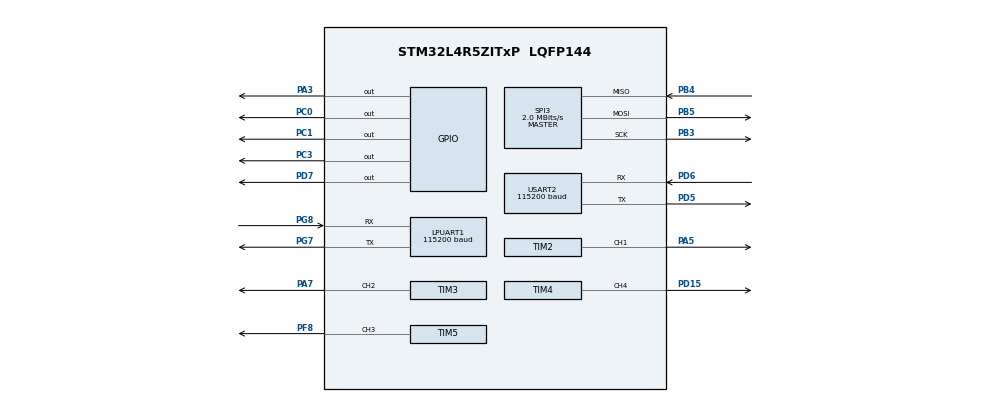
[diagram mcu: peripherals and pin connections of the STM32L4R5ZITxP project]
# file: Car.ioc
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LPUART1.BaudRate=115200
LPUART1.WordLength=UART_WORDLENGTH_8B
Mcu.Family=STM32L4
Mcu.Name=STM32L4R5ZITxP
Mcu.Package=LQFP144
NVIC.PriorityGroup=NVIC_PRIORITYGROUP_4
PA1.Signal=ADCx_IN6
PA10.Signal=USB_OTG_FS_ID
PA13\ (JTMS/SWDIO).Signal=SYS_JTMS-SWDIO
PA14\ (JTCK/SWCLK).Signal=SYS_JTCK-SWCLK
PA3.Signal=GPIO_Output
PA4.Signal=SPI1_NSS
PA5.Signal=S_TIM2_CH1
PA6.Signal=SPI1_MISO
PA7.Signal=S_TIM3_CH2
PA8.Signal=USB_OTG_FS_SOF
PA9.Signal=USB_OTG_FS_VBUS
PB0.Signal=S_TIM3_CH3
PB1.Signal=ADCx_IN16
PB10.Signal=S_TIM2_CH3
PB12.Signal=SAI2_FS_A
PB13.Signal=SAI2_SCK_A
PB14.Signal=S_TIM15_CH1
PB15.Signal=SAI2_SD_A
PB2.Signal=COMP1_INP
PB3\ (JTDO/TRACESWO).Mode=Full_Duplex_Master
PB3\ (JTDO/TRACESWO).Signal=SPI3_SCK
PB4\ (NJTRST).Mode=Full_Duplex_Master
PB4\ (NJTRST).Signal=SPI3_MISO
PB5.Mode=Full_Duplex_Master
PB5.Signal=SPI3_MOSI
PB6.Signal=COMP2_INP
PB8.Signal=I2C1_SCL
PB9.Signal=I2C1_SDA
PC0.Signal=GPIO_Output
PC1.Signal=GPIO_Output
PC10.Signal=SDMMC1_D2
PC11.Signal=SDMMC1_D3
PC12.Signal=SDMMC1_CK
PC13.Signal=SYS_WKUP2
PC14-OSC32_IN\ (PC14).Signal=RCC_OSC32_IN
PC15-OSC32_OUT\ (PC15).Signal=RCC_OSC32_OUT
PC2.Signal=ADCx_IN3
PC3.Signal=GPIO_Output
PC4.Signal=ADCx_IN13
PC5.Signal=ADCx_IN14
PC6.Signal=SAI2_MCLK_A
PC8.Signal=SDMMC1_D0
PC9.Signal=SDMMC1_D1
PD0.Signal=CAN1_RX
PD14.Signal=S_TIM4_CH3
PD15.Signal=S_TIM4_CH4
PD2.Signal=SDMMC1_CMD
PD3.Signal=USART2_CTS
PD4.Signal=USART2_RTS
PD5.Mode=Asynchronous
PD5.Signal=USART2_TX
PD6.Mode=Asynchronous
PD6.Signal=USART2_RX
PD7.Signal=GPIO_Output
PD8.Signal=USART3_TX
PD9.Signal=USART3_RX
PE0.Signal=S_TIM4_ETR
PE10.Signal=TIM1_CH2N
PE11.Signal=S_TIM1_CH2
PE12.Signal=TIM1_CH3N
PE13.Signal=S_TIM1_CH3
PE14.Signal=TIM1_BKIN2
PE15.Signal=TIM1_BKIN
PE2.Signal=SAI1_MCLK_A
PE3.Signal=SAI1_SD_B
PE7.Signal=S_TIM1_ETR
PE8.Signal=TIM1_CH1N
PE9.Signal=S_TIM1_CH1
PF0.Signal=I2C2_SDA
PF1.Signal=I2C2_SCL
PF2.Signal=I2C2_SMBA
PF7.Signal=SAI1_MCLK_B
PF8.Signal=S_TIM5_CH3
PG7.Mode=Asynchronous
PG7.Signal=LPUART1_TX
PG8.Mode=Asynchronous
PG8.Signal=LPUART1_RX
PH0-OSC_IN\ (PH0).Signal=RCC_OSC_IN
PH1-OSC_OUT\ (PH1).Signal=RCC_OSC_OUT
ProjectManager.HeapSize=0x200
ProjectManager.StackSize=0x400
ProjectManager.TargetToolchain=STM32CubeIDE
RCC.HSE_VALUE=8000000
RCC.HSI48_VALUE=48000000
RCC.HSI_VALUE=16000000
RCC.LSE_VALUE=32768
RCC.MSI_VALUE=4000000
RCC.VCOOutputFreq_Value=32000000
SH.ADCx_IN13.0=ADC1_IN13
SH.ADCx_IN14.0=ADC1_IN14
SH.ADCx_IN16.0=ADC1_IN16
SH.ADCx_IN3.0=ADC1_IN3
SH.ADCx_IN6.0=ADC1_IN6
SH.S_TIM15_CH1.0=TIM15_CH1
SH.S_TIM1_CH1.0=TIM1_CH1
SH.S_TIM1_CH2.0=TIM1_CH2
SH.S_TIM1_CH3.0=TIM1_CH3
SH.S_TIM1_ETR.0=TIM1_ETR
SH.S_TIM2_CH1.0=TIM2_CH1,PWM Generation1 CH1
SH.S_TIM2_CH3.0=TIM2_CH3
SH.S_TIM3_CH2.0=TIM3_CH2,PWM Generation2 CH2
SH.S_TIM3_CH3.0=TIM3_CH3
SH.S_TIM4_CH3.0=TIM4_CH3
SH.S_TIM4_CH4.0=TIM4_CH4,PWM Generation4 CH4
SH.S_TIM4_ETR.0=TIM4_ETR
SH.S_TIM5_CH3.0=TIM5_CH3,PWM Generation3 CH3
SPI3.CLKPhase=SPI_PHASE_2EDGE
SPI3.CalculateBaudRate=2.0 MBits/s
SPI3.DataSize=SPI_DATASIZE_8BIT
SPI3.Direction=SPI_DIRECTION_2LINES
SPI3.Mode=SPI_MODE_MASTER
SPI3.VirtualType=VM_MASTER
TIM2.AutoReloadPreload=TIM_AUTORELOAD_PRELOAD_ENABLE
TIM2.Channel-PWM\ Generation1\ CH1=TIM_CHANNEL_1
TIM2.Period=999
TIM2.Prescaler=199
TIM3.AutoReloadPreload=TIM_AUTORELOAD_PRELOAD_ENABLE
TIM3.Channel-PWM\ Generation2\ CH2=TIM_CHANNEL_2
TIM3.Period=999
TIM3.Prescaler=199
TIM4.Channel-PWM\ Generation4\ CH4=TIM_CHANNEL_4
TIM4.Period=1999
TIM4.Prescaler=39
TIM5.AutoReloadPreload=TIM_AUTORELOAD_PRELOAD_DISABLE
TIM5.Channel-PWM\ Generation3\ CH3=TIM_CHANNEL_3
TIM5.Period=1999
TIM5.Prescaler=39
USART2.BaudRate=115200
USART2.VirtualMode-Asynchronous=VM_ASYNC
VP_TIM2_VS_ClockSourceINT.Mode=Internal
VP_TIM3_VS_ClockSourceINT.Mode=Internal
VP_TIM4_VS_ClockSourceINT.Mode=Internal
VP_TIM5_VS_ClockSourceINT.Mode=Internal
board=NUCLEO-L4R5ZI-P

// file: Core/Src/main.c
/* USER CODE BEGIN Header */
/**
  ******************************************************************************
  * @file           : main.c
  * @brief          : Main program body
  ******************************************************************************
  * @attention
  *
  * Copyright (c) 2024 STMicroelectronics.
  * All rights reserved.
  *
  * This software is licensed under terms that can be found in the LICENSE file
  * in the root directory of this software component.
  * If no LICENSE file comes with this software, it is provided AS-IS.
  *
  ******************************************************************************
  */
/* USER CODE END Header */
#include "main.h"

/* USER CODE BEGIN Includes */
#include "stdio.h"
#include "math.h"

/* USER CODE END Includes */

UART_HandleTypeDef hlpuart1;
UART_HandleTypeDef huart2;

SPI_HandleTypeDef hspi3;

TIM_HandleTypeDef htim2;
TIM_HandleTypeDef htim3;
TIM_HandleTypeDef htim4;
TIM_HandleTypeDef htim5;

void SystemClock_Config(void);
static void MX_GPIO_Init(void);
static void MX_TIM2_Init(void);
static void MX_TIM3_Init(void);
static void MX_USART2_UART_Init(void);
static void MX_LPUART1_UART_Init(void);
static void MX_TIM5_Init(void);
static void MX_TIM4_Init(void);
static void MX_SPI3_Init(void);
/* USER CODE BEGIN PFP */

#define CCR1_offset 0x34
#define CCR2_offset 0x38
#define CCR3_offset 0x3C
#define CCR4_offset 0x40
#define TIM2_ADDR 0x40000000
#define TIM3_ADDR 0x40000400
#define TIM4_ADDR 0x40000800
#define TIM5_ADDR 0x40000C00

volatile uint32_t* TIM2CCR1 = (volatile uint32_t*) (TIM2_ADDR + CCR1_offset);
volatile uint32_t* TIM3CCR2 = (volatile uint32_t*) (TIM3_ADDR + CCR2_offset);
volatile uint32_t* TIM5CCR3 = (volatile uint32_t*) (TIM5_ADDR + CCR3_offset);
volatile uint32_t* TIM4CCR4 = (volatile uint32_t*) (TIM4_ADDR + CCR4_offset);

/* USER CODE END PFP */

/* USER CODE BEGIN 0 */

void setCameraY(int val) {
	*TIM4CCR4 = val; // up and down
}

void setCameraX(int val) {
	*TIM5CCR3 = val; // side to side
}

// val is between -1 and 1
#define MAX_SPEED 999;
void setRightWheel(double val) {
	//*TIM3CCR2 = 1999;
	if(val > 0.10) { // FORWARD
		HAL_GPIO_WritePin(GPIOA, GPIO_PIN_3, 1);
		HAL_GPIO_WritePin(GPIOC, GPIO_PIN_0, 0);
		*TIM3CCR2 = val * MAX_SPEED;
	} else if(val < -0.10) { // BACKWARD
		HAL_GPIO_WritePin(GPIOA, GPIO_PIN_3, 0);
		HAL_GPIO_WritePin(GPIOC, GPIO_PIN_0, 1);
		*TIM3CCR2 = -val * MAX_SPEED;
	} else {
		HAL_GPIO_WritePin(GPIOA, GPIO_PIN_3, 0);
		HAL_GPIO_WritePin(GPIOC, GPIO_PIN_0, 0);
		*TIM3CCR2 = 0;
	}
}

void setLeftWheel(double val) {
	//*TIM2CCR1 = 1999;
	if(val > 0.10) { // FORWARD
		HAL_GPIO_WritePin(GPIOC, GPIO_PIN_3, 1);
		HAL_GPIO_WritePin(GPIOC, GPIO_PIN_1, 0);
		*TIM2CCR1 = val * MAX_SPEED;
	} else if(val < -0.10) { // BACKWARD
		HAL_GPIO_WritePin(GPIOC, GPIO_PIN_3, 0);
		HAL_GPIO_WritePin(GPIOC, GPIO_PIN_1, 1);
		*TIM2CCR1 = -val * MAX_SPEED;
	} else {
		HAL_GPIO_WritePin(GPIOC, GPIO_PIN_3, 0);
		HAL_GPIO_WritePin(GPIOC, GPIO_PIN_1, 0);
		*TIM2CCR1 = 0;
	}
}

/* USER CODE END 0 */

int main(void)
{

  /* MCU Configuration--------------------------------------------------------*/

  /* Reset of all peripherals, Initializes the Flash interface and the Systick. */
  HAL_Init();

  /* Configure the system clock */
  SystemClock_Config();

  /* Initialize all configured peripherals */
  MX_GPIO_Init();
  MX_TIM2_Init();
  MX_TIM3_Init();
  MX_USART2_UART_Init();
  MX_LPUART1_UART_Init();
  MX_TIM5_Init();
  MX_TIM4_Init();
  MX_SPI3_Init();

  /* Infinite loop */
  /* USER CODE BEGIN WHILE */

  // 1A = PA3
  // 2A = PC0
  // 3A = PC3
  // 4A = PC1

  // Turning right wheels forwards =
  	  // 1A to VCC, 2A to ground
  // Turning right wheels backwards =
  	  // 1A to ground, 2A to VCC
  // Turning left wheels forwards =
  	  // 3A to VCC, 4A to ground
  // Turning left wheels backwards =
  	  // 3A to ground, 4A to VCC

  // ENA = Timer 2 Channel 1 (PA5)
  // ENB = Timer 3 Channel 2 (PA7)

  HAL_TIM_PWM_Start(&htim2, TIM_CHANNEL_1);
  HAL_TIM_PWM_Start(&htim3, TIM_CHANNEL_2);
  HAL_TIM_PWM_Start(&htim5, TIM_CHANNEL_3);
  HAL_TIM_PWM_Start(&htim4, TIM_CHANNEL_4);

  uint8_t rx_data[20];

  static int camX = 150;
  static int camY = 240;

  uint8_t r_p[20];
  uint8_t t_p[20] = {174, 193, 32, 2, 1, 1};
  uint8_t intr = 1;

  while (1)
  {

	  //#define DEBUG_MODE 1;

	  // Receive data from Transmitter XBEE
	  HAL_StatusTypeDef ControllerStatus = HAL_UART_Receive(&huart2, rx_data, 6, 10);
//	  if(ControllerStatus == HAL_ERROR || ControllerStatus == HAL_TIMEOUT) {
//		  setLeftWheel(0.0);
//		  setRightWheel(0.0);
//		  #ifdef DEBUG_MODE
//		  	  printf("Did not receive data:");
//		  	  if(ControllerStatus == HAL_ERROR) {
//		  		  printf("HAL_ERROR\n");
//		  	  } else if (ControllerStatus == HAL_TIMEOUT) {
//		  		  printf("HAL_TIMEOUT\n");
//		  	  }
//		  #endif
//
//		  HAL_Delay(5);
//		  continue;
//	  }

	  // TALK TO PIXIECAM
	  HAL_GPIO_WritePin(GPIOD, GPIO_PIN_7, GPIO_PIN_RESET);
	  HAL_SPI_TransmitReceive(&hspi3, t_p, r_p, 20, 10);
	  HAL_GPIO_WritePin(GPIOD, GPIO_PIN_7, GPIO_PIN_SET);
//	  printf("CAMERA OUTPUT: ");
//
//	  for (int i = 0 ; i < 20 ; ++i) {
//		  printf("%3d ", r_p[i]);
//	  } printf("\r\n");

	  if (!r_p[0] && r_p[19]) HAL_UART_Transmit(&huart2, &intr, 1, 10);

	  #ifdef DEBUG_MODE
		  printf("Full Data: ");
		  for(int i = 0; i < 6; i++) {
			  printf("%2x ", rx_data[i]);
		  }
		  printf("\n");
	  #endif

	  uint8_t buttons1 = rx_data[0];
	  uint8_t buttons2 = rx_data[1];
	  int Rx = rx_data[2];
	  int Ry = rx_data[3];
	  int Lx = rx_data[4];
	  int Ly = rx_data[5];

	  // Digital Buttons from Controller
	  uint8_t L1, L2, R1, R2, Left, Up, Right, Down, Triangle, Circle, X, Square, Start, Select, RightPress, LeftPress;

	  Left = !((buttons1 & (1 << 7)) >> 7);
	  Down = !((buttons1 & (1 << 6)) >> 6);
	  Right = !((buttons1 & (1 << 5)) >> 5);
	  Up = !((buttons1 & (1 << 4)) >> 4);
	  Start = !((buttons1 & (1 << 3)) >> 3);
	  RightPress = !((buttons1 & (1 << 2)) >> 2);
	  LeftPress = !((buttons1 & (1 << 1)) >> 1);
	  Select = !((buttons1 & (1 << 0)) >> 0);

	  Square = !((buttons2 & (1 << 7)) >> 7);
	  X = !((buttons2 & (1 << 6)) >> 6);
	  Circle = !((buttons2 & (1 << 5)) >> 5);
	  Triangle = !((buttons2 & (1 << 4)) >> 4);
	  R1 = !((buttons2 & (1 << 3)) >> 3);
	  L1 = !((buttons2 & (1 << 2)) >> 2);
	  R2 = !((buttons2 & (1 << 1)) >> 1);
	  L2 = !((buttons2 & (1 << 0)) >> 0);

	  Lx = Lx - 128;
	  Ly = Ly - 128;
	  Ly = -1 * Ly;
	  Rx = Rx - 128;
	  Ry = Ry - 128;
	  Ry = -1 * Ry;

	  // Map Left joystick to Camera Panning
	  // MIN: 60, MAX: 240

	  //printf("Ly: %d, Lx: %d, Ry: %d, Rx: %d\n", Ly, Lx, Ry, Rx);
	  if(Ly > 20 && camY < 215) {
		  camY +=1 ;
	  } else if(Ly < -20 && camY > 75) {
		  camY -=1 ;
	  }
	  if(Lx > 20 && camX < 225) {
		  camX +=3 ;
	  } else if(Lx < -20 && camX > 65) {
		  camX -=3 ;
	  }
	  setCameraX(camX);
	  setCameraY(camY);

	  // Printing button values
	  /*printf("Left: %d, Down: %d, Right: %d, Up: %d, Start: %d, RightPress: %d, LeftPress: %d, Select: %d, ", Left, Down, Right, Up, Start, RightPress, LeftPress, Select);
	  printf("Square: %d, X: %d, Circle: %d, Triangle: %d, R1: %d, L1: %d, R2: %d, L2: %d", Square, X, Circle, Triangle, R1, L1, R2, L2);
	  printf("\n");*/

	  // Buttons1: Left, Down, Right, Up, start, right joystick click, left joystick click, select
	  // Buttons2: square, x, circle, triangle, R1, L1, R2, L2

	  double dRx = (double) Rx / 128;
	  double dRy = (double) Ry / 128;

	  double raw_dist = sqrt(dRx*dRx + dRy*dRy);
	  double dist = (raw_dist >= 1.0) ? 1.0 : raw_dist;

	  double scaled_dist; // TODO
	  double theta = atan2(dRy, dRx);

	  double R, L;
	  // Figure out quadrants
	  if(Rx >=0 && Ry >= 0) { // Quadrant 1
		  L = 1.0 * dist;
		  R = (theta/1.57079632679) * dist;

	  } else if(Rx >= 0 && Ry < 0) { // Quadrant 2
		  L = -1.0 * dist;
		  R = (theta / 1.57079632679) * dist;

	  } else if(Rx < 0 && Ry < 0) { // Quadrant 3
		  R = -1.0 * dist;
		  L = (-2.0 - (theta / 1.57079632679)) * dist;

	  } else { // Quadrant 4
		  R = 1.0 * dist;
		  L = (2.0 - (theta / 1.57079632679)) * dist;
	  }

	  setLeftWheel(L);
	  setRightWheel(R);

	  printf("dist %f, L %f, R %f, leftccr %d, rightccr%d\n", dist, L, R, *TIM2CCR1, *TIM3CCR2);

    /* USER CODE END WHILE */

  }
}

void SystemClock_Config(void)
{
  RCC_OscInitTypeDef RCC_OscInitStruct = {0};
  RCC_ClkInitTypeDef RCC_ClkInitStruct = {0};

  /** Configure the main internal regulator output voltage
  */
  if (HAL_PWREx_ControlVoltageScaling(PWR_REGULATOR_VOLTAGE_SCALE1) != HAL_OK)
  {
    Error_Handler();
  }

  /** Initializes the RCC Oscillators according to the specified parameters
  * in the RCC_OscInitTypeDef structure.
  */
  RCC_OscInitStruct.OscillatorType = RCC_OSCILLATORTYPE_MSI;
  RCC_OscInitStruct.MSIState = RCC_MSI_ON;
  RCC_OscInitStruct.MSICalibrationValue = 0;
  RCC_OscInitStruct.MSIClockRange = RCC_MSIRANGE_6;
  RCC_OscInitStruct.PLL.PLLState = RCC_PLL_NONE;
  if (HAL_RCC_OscConfig(&RCC_OscInitStruct) != HAL_OK)
  {
    Error_Handler();
  }

  /** Initializes the CPU, AHB and APB buses clocks
  */
  RCC_ClkInitStruct.ClockType = RCC_CLOCKTYPE_HCLK|RCC_CLOCKTYPE_SYSCLK
                              |RCC_CLOCKTYPE_PCLK1|RCC_CLOCKTYPE_PCLK2;
  RCC_ClkInitStruct.SYSCLKSource = RCC_SYSCLKSOURCE_MSI;
  RCC_ClkInitStruct.AHBCLKDivider = RCC_SYSCLK_DIV1;
  RCC_ClkInitStruct.APB1CLKDivider = RCC_HCLK_DIV1;
  RCC_ClkInitStruct.APB2CLKDivider = RCC_HCLK_DIV1;

  if (HAL_RCC_ClockConfig(&RCC_ClkInitStruct, FLASH_LATENCY_0) != HAL_OK)
  {
    Error_Handler();
  }
}

static void MX_LPUART1_UART_Init(void)
{

  hlpuart1.Instance = LPUART1;
  hlpuart1.Init.BaudRate = 115200;
  hlpuart1.Init.WordLength = UART_WORDLENGTH_8B;
  hlpuart1.Init.StopBits = UART_STOPBITS_1;
  hlpuart1.Init.Parity = UART_PARITY_NONE;
  hlpuart1.Init.Mode = UART_MODE_TX_RX;
  hlpuart1.Init.HwFlowCtl = UART_HWCONTROL_NONE;
  hlpuart1.Init.OneBitSampling = UART_ONE_BIT_SAMPLE_DISABLE;
  hlpuart1.Init.ClockPrescaler = UART_PRESCALER_DIV1;
  hlpuart1.AdvancedInit.AdvFeatureInit = UART_ADVFEATURE_NO_INIT;
  hlpuart1.FifoMode = UART_FIFOMODE_DISABLE;
  if (HAL_UART_Init(&hlpuart1) != HAL_OK)
  {
    Error_Handler();
  }
  if (HAL_UARTEx_SetTxFifoThreshold(&hlpuart1, UART_TXFIFO_THRESHOLD_1_8) != HAL_OK)
  {
    Error_Handler();
  }
  if (HAL_UARTEx_SetRxFifoThreshold(&hlpuart1, UART_RXFIFO_THRESHOLD_1_8) != HAL_OK)
  {
    Error_Handler();
  }
  if (HAL_UARTEx_DisableFifoMode(&hlpuart1) != HAL_OK)
  {
    Error_Handler();
  }

}

static void MX_USART2_UART_Init(void)
{

  huart2.Instance = USART2;
  huart2.Init.BaudRate = 115200;
  huart2.Init.WordLength = UART_WORDLENGTH_8B;
  huart2.Init.StopBits = UART_STOPBITS_1;
  huart2.Init.Parity = UART_PARITY_NONE;
  huart2.Init.Mode = UART_MODE_TX_RX;
  huart2.Init.HwFlowCtl = UART_HWCONTROL_NONE;
  huart2.Init.OverSampling = UART_OVERSAMPLING_16;
  huart2.Init.OneBitSampling = UART_ONE_BIT_SAMPLE_DISABLE;
  huart2.Init.ClockPrescaler = UART_PRESCALER_DIV1;
  huart2.AdvancedInit.AdvFeatureInit = UART_ADVFEATURE_NO_INIT;
  if (HAL_UART_Init(&huart2) != HAL_OK)
  {
    Error_Handler();
  }
  if (HAL_UARTEx_SetTxFifoThreshold(&huart2, UART_TXFIFO_THRESHOLD_1_8) != HAL_OK)
  {
    Error_Handler();
  }
  if (HAL_UARTEx_SetRxFifoThreshold(&huart2, UART_RXFIFO_THRESHOLD_1_8) != HAL_OK)
  {
    Error_Handler();
  }
  if (HAL_UARTEx_DisableFifoMode(&huart2) != HAL_OK)
  {
    Error_Handler();
  }

}

static void MX_SPI3_Init(void)
{

  /* SPI3 parameter configuration*/
  hspi3.Instance = SPI3;
  hspi3.Init.Mode = SPI_MODE_MASTER;
  hspi3.Init.Direction = SPI_DIRECTION_2LINES;
  hspi3.Init.DataSize = SPI_DATASIZE_8BIT;
  hspi3.Init.CLKPolarity = SPI_POLARITY_LOW;
  hspi3.Init.CLKPhase = SPI_PHASE_2EDGE;
  hspi3.Init.NSS = SPI_NSS_SOFT;
  hspi3.Init.BaudRatePrescaler = SPI_BAUDRATEPRESCALER_2;
  hspi3.Init.FirstBit = SPI_FIRSTBIT_MSB;
  hspi3.Init.TIMode = SPI_TIMODE_DISABLE;
  hspi3.Init.CRCCalculation = SPI_CRCCALCULATION_DISABLE;
  hspi3.Init.CRCPolynomial = 7;
  hspi3.Init.CRCLength = SPI_CRC_LENGTH_DATASIZE;
  hspi3.Init.NSSPMode = SPI_NSS_PULSE_DISABLE;
  if (HAL_SPI_Init(&hspi3) != HAL_OK)
  {
    Error_Handler();
  }

}

static void MX_TIM2_Init(void)
{

  TIM_ClockConfigTypeDef sClockSourceConfig = {0};
  TIM_MasterConfigTypeDef sMasterConfig = {0};
  TIM_OC_InitTypeDef sConfigOC = {0};

  htim2.Instance = TIM2;
  htim2.Init.Prescaler = 199;
  htim2.Init.CounterMode = TIM_COUNTERMODE_UP;
  htim2.Init.Period = 999;
  htim2.Init.ClockDivision = TIM_CLOCKDIVISION_DIV1;
  htim2.Init.AutoReloadPreload = TIM_AUTORELOAD_PRELOAD_ENABLE;
  if (HAL_TIM_Base_Init(&htim2) != HAL_OK)
  {
    Error_Handler();
  }
  sClockSourceConfig.ClockSource = TIM_CLOCKSOURCE_INTERNAL;
  if (HAL_TIM_ConfigClockSource(&htim2, &sClockSourceConfig) != HAL_OK)
  {
    Error_Handler();
  }
  if (HAL_TIM_PWM_Init(&htim2) != HAL_OK)
  {
    Error_Handler();
  }
  sMasterConfig.MasterOutputTrigger = TIM_TRGO_RESET;
  sMasterConfig.MasterSlaveMode = TIM_MASTERSLAVEMODE_DISABLE;
  if (HAL_TIMEx_MasterConfigSynchronization(&htim2, &sMasterConfig) != HAL_OK)
  {
    Error_Handler();
  }
  sConfigOC.OCMode = TIM_OCMODE_PWM1;
  sConfigOC.Pulse = 0;
  sConfigOC.OCPolarity = TIM_OCPOLARITY_HIGH;
  sConfigOC.OCFastMode = TIM_OCFAST_DISABLE;
  if (HAL_TIM_PWM_ConfigChannel(&htim2, &sConfigOC, TIM_CHANNEL_1) != HAL_OK)
  {
    Error_Handler();
  }
  HAL_TIM_MspPostInit(&htim2);

}

static void MX_TIM3_Init(void)
{

  TIM_ClockConfigTypeDef sClockSourceConfig = {0};
  TIM_MasterConfigTypeDef sMasterConfig = {0};
  TIM_OC_InitTypeDef sConfigOC = {0};

  htim3.Instance = TIM3;
  htim3.Init.Prescaler = 199;
  htim3.Init.CounterMode = TIM_COUNTERMODE_UP;
  htim3.Init.Period = 999;
  htim3.Init.ClockDivision = TIM_CLOCKDIVISION_DIV1;
  htim3.Init.AutoReloadPreload = TIM_AUTORELOAD_PRELOAD_ENABLE;
  if (HAL_TIM_Base_Init(&htim3) != HAL_OK)
  {
    Error_Handler();
  }
  sClockSourceConfig.ClockSource = TIM_CLOCKSOURCE_INTERNAL;
  if (HAL_TIM_ConfigClockSource(&htim3, &sClockSourceConfig) != HAL_OK)
  {
    Error_Handler();
  }
  if (HAL_TIM_PWM_Init(&htim3) != HAL_OK)
  {
    Error_Handler();
  }
  sMasterConfig.MasterOutputTrigger = TIM_TRGO_RESET;
  sMasterConfig.MasterSlaveMode = TIM_MASTERSLAVEMODE_DISABLE;
  if (HAL_TIMEx_MasterConfigSynchronization(&htim3, &sMasterConfig) != HAL_OK)
  {
    Error_Handler();
  }
  sConfigOC.OCMode = TIM_OCMODE_PWM1;
  sConfigOC.Pulse = 0;
  sConfigOC.OCPolarity = TIM_OCPOLARITY_HIGH;
  sConfigOC.OCFastMode = TIM_OCFAST_DISABLE;
  if (HAL_TIM_PWM_ConfigChannel(&htim3, &sConfigOC, TIM_CHANNEL_2) != HAL_OK)
  {
    Error_Handler();
  }
  HAL_TIM_MspPostInit(&htim3);

}

static void MX_TIM4_Init(void)
{

  TIM_ClockConfigTypeDef sClockSourceConfig = {0};
  TIM_MasterConfigTypeDef sMasterConfig = {0};
  TIM_OC_InitTypeDef sConfigOC = {0};

  htim4.Instance = TIM4;
  htim4.Init.Prescaler = 39;
  htim4.Init.CounterMode = TIM_COUNTERMODE_UP;
  htim4.Init.Period = 1999;
  htim4.Init.ClockDivision = TIM_CLOCKDIVISION_DIV1;
  htim4.Init.AutoReloadPreload = TIM_AUTORELOAD_PRELOAD_DISABLE;
  if (HAL_TIM_Base_Init(&htim4) != HAL_OK)
  {
    Error_Handler();
  }
  sClockSourceConfig.ClockSource = TIM_CLOCKSOURCE_INTERNAL;
  if (HAL_TIM_ConfigClockSource(&htim4, &sClockSourceConfig) != HAL_OK)
  {
    Error_Handler();
  }
  if (HAL_TIM_PWM_Init(&htim4) != HAL_OK)
  {
    Error_Handler();
  }
  sMasterConfig.MasterOutputTrigger = TIM_TRGO_RESET;
  sMasterConfig.MasterSlaveMode = TIM_MASTERSLAVEMODE_DISABLE;
  if (HAL_TIMEx_MasterConfigSynchronization(&htim4, &sMasterConfig) != HAL_OK)
  {
    Error_Handler();
  }
  sConfigOC.OCMode = TIM_OCMODE_PWM1;
  sConfigOC.Pulse = 0;
  sConfigOC.OCPolarity = TIM_OCPOLARITY_HIGH;
  sConfigOC.OCFastMode = TIM_OCFAST_DISABLE;
  if (HAL_TIM_PWM_ConfigChannel(&htim4, &sConfigOC, TIM_CHANNEL_4) != HAL_OK)
  {
    Error_Handler();
  }
  HAL_TIM_MspPostInit(&htim4);

}

static void MX_TIM5_Init(void)
{

  TIM_ClockConfigTypeDef sClockSourceConfig = {0};
  TIM_MasterConfigTypeDef sMasterConfig = {0};
  TIM_OC_InitTypeDef sConfigOC = {0};

  htim5.Instance = TIM5;
  htim5.Init.Prescaler = 39;
  htim5.Init.CounterMode = TIM_COUNTERMODE_UP;
  htim5.Init.Period = 1999;
  htim5.Init.ClockDivision = TIM_CLOCKDIVISION_DIV1;
  htim5.Init.AutoReloadPreload = TIM_AUTORELOAD_PRELOAD_DISABLE;
  if (HAL_TIM_Base_Init(&htim5) != HAL_OK)
  {
    Error_Handler();
  }
  sClockSourceConfig.ClockSource = TIM_CLOCKSOURCE_INTERNAL;
  if (HAL_TIM_ConfigClockSource(&htim5, &sClockSourceConfig) != HAL_OK)
  {
    Error_Handler();
  }
  if (HAL_TIM_PWM_Init(&htim5) != HAL_OK)
  {
    Error_Handler();
  }
  sMasterConfig.MasterOutputTrigger = TIM_TRGO_RESET;
  sMasterConfig.MasterSlaveMode = TIM_MASTERSLAVEMODE_DISABLE;
  if (HAL_TIMEx_MasterConfigSynchronization(&htim5, &sMasterConfig) != HAL_OK)
  {
    Error_Handler();
  }
  sConfigOC.OCMode = TIM_OCMODE_PWM1;
  sConfigOC.Pulse = 0;
  sConfigOC.OCPolarity = TIM_OCPOLARITY_HIGH;
  sConfigOC.OCFastMode = TIM_OCFAST_DISABLE;
  if (HAL_TIM_PWM_ConfigChannel(&htim5, &sConfigOC, TIM_CHANNEL_3) != HAL_OK)
  {
    Error_Handler();
  }
  HAL_TIM_MspPostInit(&htim5);

}

static void MX_GPIO_Init(void)
{
  GPIO_InitTypeDef GPIO_InitStruct = {0};

  /* GPIO Ports Clock Enable */
  __HAL_RCC_GPIOE_CLK_ENABLE();
  __HAL_RCC_GPIOC_CLK_ENABLE();
  __HAL_RCC_GPIOF_CLK_ENABLE();
  __HAL_RCC_GPIOH_CLK_ENABLE();
  __HAL_RCC_GPIOA_CLK_ENABLE();
  __HAL_RCC_GPIOB_CLK_ENABLE();
  __HAL_RCC_GPIOD_CLK_ENABLE();
  __HAL_RCC_GPIOG_CLK_ENABLE();
  HAL_PWREx_EnableVddIO2();

  /*Configure GPIO pin Output Level */
  HAL_GPIO_WritePin(GPIOC, GPIO_PIN_0|GPIO_PIN_1|GPIO_PIN_3, GPIO_PIN_RESET);

  /*Configure GPIO pin Output Level */
  HAL_GPIO_WritePin(GPIOA, GPIO_PIN_3, GPIO_PIN_RESET);

  /*Configure GPIO pin Output Level */
  HAL_GPIO_WritePin(GPIOD, GPIO_PIN_7, GPIO_PIN_RESET);

  /*Configure GPIO pins : PE2 PE3 */
  GPIO_InitStruct.Pin = GPIO_PIN_2|GPIO_PIN_3;
  GPIO_InitStruct.Mode = GPIO_MODE_AF_PP;
  GPIO_InitStruct.Pull = GPIO_NOPULL;
  GPIO_InitStruct.Speed = GPIO_SPEED_FREQ_LOW;
  GPIO_InitStruct.Alternate = GPIO_AF13_SAI1;
  HAL_GPIO_Init(GPIOE, &GPIO_InitStruct);

  /*Configure GPIO pins : PF0 PF1 PF2 */
  GPIO_InitStruct.Pin = GPIO_PIN_0|GPIO_PIN_1|GPIO_PIN_2;
  GPIO_InitStruct.Mode = GPIO_MODE_AF_OD;
  GPIO_InitStruct.Pull = GPIO_NOPULL;
  GPIO_InitStruct.Speed = GPIO_SPEED_FREQ_VERY_HIGH;
  GPIO_InitStruct.Alternate = GPIO_AF4_I2C2;
  HAL_GPIO_Init(GPIOF, &GPIO_InitStruct);

  /*Configure GPIO pin : PF7 */
  GPIO_InitStruct.Pin = GPIO_PIN_7;
  GPIO_InitStruct.Mode = GPIO_MODE_AF_PP;
  GPIO_InitStruct.Pull = GPIO_NOPULL;
  GPIO_InitStruct.Speed = GPIO_SPEED_FREQ_LOW;
  GPIO_InitStruct.Alternate = GPIO_AF13_SAI1;
  HAL_GPIO_Init(GPIOF, &GPIO_InitStruct);

  /*Configure GPIO pins : PC0 PC1 PC3 */
  GPIO_InitStruct.Pin = GPIO_PIN_0|GPIO_PIN_1|GPIO_PIN_3;
  GPIO_InitStruct.Mode = GPIO_MODE_OUTPUT_PP;
  GPIO_InitStruct.Pull = GPIO_NOPULL;
  GPIO_InitStruct.Speed = GPIO_SPEED_FREQ_LOW;
  HAL_GPIO_Init(GPIOC, &GPIO_InitStruct);

  /*Configure GPIO pins : PC2 PC4 PC5 */
  GPIO_InitStruct.Pin = GPIO_PIN_2|GPIO_PIN_4|GPIO_PIN_5;
  GPIO_InitStruct.Mode = GPIO_MODE_ANALOG_ADC_CONTROL;
  GPIO_InitStruct.Pull = GPIO_NOPULL;
  HAL_GPIO_Init(GPIOC, &GPIO_InitStruct);

  /*Configure GPIO pin : PA1 */
  GPIO_InitStruct.Pin = GPIO_PIN_1;
  GPIO_InitStruct.Mode = GPIO_MODE_ANALOG_ADC_CONTROL;
  GPIO_InitStruct.Pull = GPIO_NOPULL;
  HAL_GPIO_Init(GPIOA, &GPIO_InitStruct);

  /*Configure GPIO pin : PA3 */
  GPIO_InitStruct.Pin = GPIO_PIN_3;
  GPIO_InitStruct.Mode = GPIO_MODE_OUTPUT_PP;
  GPIO_InitStruct.Pull = GPIO_NOPULL;
  GPIO_InitStruct.Speed = GPIO_SPEED_FREQ_LOW;
  HAL_GPIO_Init(GPIOA, &GPIO_InitStruct);

  /*Configure GPIO pins : PA4 PA6 */
  GPIO_InitStruct.Pin = GPIO_PIN_4|GPIO_PIN_6;
  GPIO_InitStruct.Mode = GPIO_MODE_AF_PP;
  GPIO_InitStruct.Pull = GPIO_NOPULL;
  GPIO_InitStruct.Speed = GPIO_SPEED_FREQ_VERY_HIGH;
  GPIO_InitStruct.Alternate = GPIO_AF5_SPI1;
  HAL_GPIO_Init(GPIOA, &GPIO_InitStruct);

  /*Configure GPIO pin : PB1 */
  GPIO_InitStruct.Pin = GPIO_PIN_1;
  GPIO_InitStruct.Mode = GPIO_MODE_ANALOG_ADC_CONTROL;
  GPIO_InitStruct.Pull = GPIO_NOPULL;
  HAL_GPIO_Init(GPIOB, &GPIO_InitStruct);

  /*Configure GPIO pins : PB2 PB6 */
  GPIO_InitStruct.Pin = GPIO_PIN_2|GPIO_PIN_6;
  GPIO_InitStruct.Mode = GPIO_MODE_ANALOG;
  GPIO_InitStruct.Pull = GPIO_NOPULL;
  HAL_GPIO_Init(GPIOB, &GPIO_InitStruct);

  /*Configure GPIO pins : PE7 PE8 PE9 PE10
                           PE11 PE12 PE13 */
  GPIO_InitStruct.Pin = GPIO_PIN_7|GPIO_PIN_8|GPIO_PIN_9|GPIO_PIN_10
                          |GPIO_PIN_11|GPIO_PIN_12|GPIO_PIN_13;
  GPIO_InitStruct.Mode = GPIO_MODE_AF_PP;
  GPIO_InitStruct.Pull = GPIO_NOPULL;
  GPIO_InitStruct.Speed = GPIO_SPEED_FREQ_LOW;
  GPIO_InitStruct.Alternate = GPIO_AF1_TIM1;
  HAL_GPIO_Init(GPIOE, &GPIO_InitStruct);

  /*Configure GPIO pins : PE14 PE15 */
  GPIO_InitStruct.Pin = GPIO_PIN_14|GPIO_PIN_15;
  GPIO_InitStruct.Mode = GPIO_MODE_AF_PP;
  GPIO_InitStruct.Pull = GPIO_NOPULL;
  GPIO_InitStruct.Speed = GPIO_SPEED_FREQ_LOW;
  GPIO_InitStruct.Alternate = GPIO_AF3_TIM1_COMP1;
  HAL_GPIO_Init(GPIOE, &GPIO_InitStruct);

  /*Configure GPIO pins : PB12 PB13 PB15 */
  GPIO_InitStruct.Pin = GPIO_PIN_12|GPIO_PIN_13|GPIO_PIN_15;
  GPIO_InitStruct.Mode = GPIO_MODE_AF_PP;
  GPIO_InitStruct.Pull = GPIO_NOPULL;
  GPIO_InitStruct.Speed = GPIO_SPEED_FREQ_LOW;
  GPIO_InitStruct.Alternate = GPIO_AF13_SAI2;
  HAL_GPIO_Init(GPIOB, &GPIO_InitStruct);

  /*Configure GPIO pin : PB14 */
  GPIO_InitStruct.Pin = GPIO_PIN_14;
  GPIO_InitStruct.Mode = GPIO_MODE_AF_PP;
  GPIO_InitStruct.Pull = GPIO_NOPULL;
  GPIO_InitStruct.Speed = GPIO_SPEED_FREQ_LOW;
  GPIO_InitStruct.Alternate = GPIO_AF14_TIM15;
  HAL_GPIO_Init(GPIOB, &GPIO_InitStruct);

  /*Configure GPIO pins : PD8 PD9 */
  GPIO_InitStruct.Pin = GPIO_PIN_8|GPIO_PIN_9;
  GPIO_InitStruct.Mode = GPIO_MODE_AF_PP;
  GPIO_InitStruct.Pull = GPIO_NOPULL;
  GPIO_InitStruct.Speed = GPIO_SPEED_FREQ_VERY_HIGH;
  GPIO_InitStruct.Alternate = GPIO_AF7_USART3;
  HAL_GPIO_Init(GPIOD, &GPIO_InitStruct);

  /*Configure GPIO pin : PC6 */
  GPIO_InitStruct.Pin = GPIO_PIN_6;
  GPIO_InitStruct.Mode = GPIO_MODE_AF_PP;
  GPIO_InitStruct.Pull = GPIO_NOPULL;
  GPIO_InitStruct.Speed = GPIO_SPEED_FREQ_LOW;
  GPIO_InitStruct.Alternate = GPIO_AF13_SAI2;
  HAL_GPIO_Init(GPIOC, &GPIO_InitStruct);

  /*Configure GPIO pins : PC8 PC9 PC10 PC11
                           PC12 */
  GPIO_InitStruct.Pin = GPIO_PIN_8|GPIO_PIN_9|GPIO_PIN_10|GPIO_PIN_11
                          |GPIO_PIN_12;
  GPIO_InitStruct.Mode = GPIO_MODE_AF_PP;
  GPIO_InitStruct.Pull = GPIO_NOPULL;
  GPIO_InitStruct.Speed = GPIO_SPEED_FREQ_VERY_HIGH;
  GPIO_InitStruct.Alternate = GPIO_AF12_SDMMC1;
  HAL_GPIO_Init(GPIOC, &GPIO_InitStruct);

  /*Configure GPIO pins : PA8 PA10 */
  GPIO_InitStruct.Pin = GPIO_PIN_8|GPIO_PIN_10;
  GPIO_InitStruct.Mode = GPIO_MODE_AF_PP;
  GPIO_InitStruct.Pull = GPIO_NOPULL;
  GPIO_InitStruct.Speed = GPIO_SPEED_FREQ_VERY_HIGH;
  GPIO_InitStruct.Alternate = GPIO_AF10_OTG_FS;
  HAL_GPIO_Init(GPIOA, &GPIO_InitStruct);

  /*Configure GPIO pin : PA9 */
  GPIO_InitStruct.Pin = GPIO_PIN_9;
  GPIO_InitStruct.Mode = GPIO_MODE_INPUT;
  GPIO_InitStruct.Pull = GPIO_NOPULL;
  HAL_GPIO_Init(GPIOA, &GPIO_InitStruct);

  /*Configure GPIO pin : PD0 */
  GPIO_InitStruct.Pin = GPIO_PIN_0;
  GPIO_InitStruct.Mode = GPIO_MODE_AF_PP;
  GPIO_InitStruct.Pull = GPIO_NOPULL;
  GPIO_InitStruct.Speed = GPIO_SPEED_FREQ_VERY_HIGH;
  GPIO_InitStruct.Alternate = GPIO_AF9_CAN1;
  HAL_GPIO_Init(GPIOD, &GPIO_InitStruct);

  /*Configure GPIO pin : PD2 */
  GPIO_InitStruct.Pin = GPIO_PIN_2;
  GPIO_InitStruct.Mode = GPIO_MODE_AF_PP;
  GPIO_InitStruct.Pull = GPIO_NOPULL;
  GPIO_InitStruct.Speed = GPIO_SPEED_FREQ_VERY_HIGH;
  GPIO_InitStruct.Alternate = GPIO_AF12_SDMMC1;
  HAL_GPIO_Init(GPIOD, &GPIO_InitStruct);

  /*Configure GPIO pin : PD7 */
  GPIO_InitStruct.Pin = GPIO_PIN_7;
  GPIO_InitStruct.Mode = GPIO_MODE_OUTPUT_PP;
  GPIO_InitStruct.Pull = GPIO_NOPULL;
  GPIO_InitStruct.Speed = GPIO_SPEED_FREQ_LOW;
  HAL_GPIO_Init(GPIOD, &GPIO_InitStruct);

  /*Configure GPIO pins : PB8 PB9 */
  GPIO_InitStruct.Pin = GPIO_PIN_8|GPIO_PIN_9;
  GPIO_InitStruct.Mode = GPIO_MODE_AF_OD;
  GPIO_InitStruct.Pull = GPIO_NOPULL;
  GPIO_InitStruct.Speed = GPIO_SPEED_FREQ_VERY_HIGH;
  GPIO_InitStruct.Alternate = GPIO_AF4_I2C1;
  HAL_GPIO_Init(GPIOB, &GPIO_InitStruct);

}

/* USER CODE BEGIN 4 */

#ifdef __GNUC__
#define PUTCHAR_PROTOTYPE int __io_putchar(int ch)
#else
  #define PUTCHAR_PROTOTYPE int fputc(int ch, FILE *f)
#endif /* __GNUC__ */
PUTCHAR_PROTOTYPE
{
  HAL_UART_Transmit(&hlpuart1, (uint8_t *)&ch, 1, 0xFFFF);
  return ch;
}

/* USER CODE END 4 */

void Error_Handler(void)
{
  __disable_irq();
  while (1)
  {
  }
}
